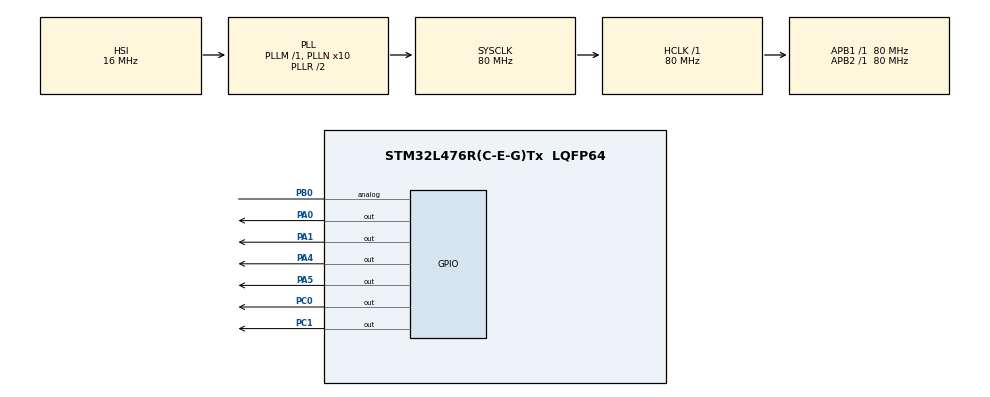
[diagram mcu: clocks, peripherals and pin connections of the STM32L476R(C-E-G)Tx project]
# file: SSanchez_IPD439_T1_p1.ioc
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Dma.MEMTOMEM.0.Direction=DMA_MEMORY_TO_MEMORY
Dma.MEMTOMEM.0.Instance=DMA1_Channel1
Dma.MEMTOMEM.0.MemDataAlignment=DMA_MDATAALIGN_BYTE
Dma.MEMTOMEM.0.MemInc=DMA_MINC_ENABLE
Dma.MEMTOMEM.0.Mode=DMA_NORMAL
Dma.MEMTOMEM.0.PeriphDataAlignment=DMA_PDATAALIGN_BYTE
Dma.MEMTOMEM.0.PeriphInc=DMA_PINC_ENABLE
Dma.MEMTOMEM.0.Priority=DMA_PRIORITY_LOW
Dma.Request0=MEMTOMEM
Mcu.Family=STM32L4
Mcu.Name=STM32L476R(C-E-G)Tx
Mcu.Package=LQFP64
NVIC.PriorityGroup=NVIC_PRIORITYGROUP_4
PA0.Signal=GPIO_Output
PA1.Signal=GPIO_Output
PA4.Signal=GPIO_Output
PA5.Signal=GPIO_Output
PB0.Signal=GPIO_Analog
PC0.Signal=GPIO_Output
PC1.Signal=GPIO_Output
ProjectManager.HeapSize=0x200
ProjectManager.StackSize=0x400
ProjectManager.TargetToolchain=STM32CubeIDE
RCC.ADCFreq_Value=64000000
RCC.AHBFreq_Value=80000000
RCC.APB1Freq_Value=80000000
RCC.APB1TimFreq_Value=80000000
RCC.APB2Freq_Value=80000000
RCC.APB2TimFreq_Value=80000000
RCC.CortexFreq_Value=80000000
RCC.HCLKFreq_Value=80000000
RCC.HSE_VALUE=8000000
RCC.HSI_VALUE=16000000
RCC.LSE_VALUE=32768
RCC.MSI_VALUE=4000000
RCC.PLLN=10
RCC.PLLSourceVirtual=RCC_PLLSOURCE_HSI
RCC.SYSCLKFreq_VALUE=80000000
RCC.SYSCLKSource=RCC_SYSCLKSOURCE_PLLCLK
RCC.USBFreq_Value=64000000
RCC.VCOOutputFreq_Value=160000000
board=custom

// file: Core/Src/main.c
/* USER CODE BEGIN Header */
/**
  ******************************************************************************
  * @file           : main.c
  * @brief          : Main program body
  ******************************************************************************
  * @attention
  *
  * Copyright (c) 2026 STMicroelectronics.
  * All rights reserved.
  *
  * This software is licensed under terms that can be found in the LICENSE file
  * in the root directory of this software component.
  * If no LICENSE file comes with this software, it is provided AS-IS.
  *
  ******************************************************************************
  */
/* USER CODE END Header */
#include "main.h"
#include "dma.h"
#include "gpio.h"

/* USER CODE BEGIN Includes */
#include "funciones.h"
#include <string.h>
/* USER CODE END Includes */

/* USER CODE BEGIN PV */
const char data1[32]="este es un texto que contiene 3";
const char data2[64]="este es un texto que contiene 32este es un texto que contiene 3";
const char data4[128]="este es un texto que contiene 32este es un texto que contiene 32este es un texto que contiene 32este es un texto que contiene 3";
const char data8[256]="este es un texto que contiene 32este es un texto que contiene 32este es un texto que contiene 32este es un texto que contiene 32este es un texto que contiene 32este es un texto que contiene 32este es un texto que contiene 32este es un texto que contiene 3";
const char data16[512]="este es un texto que contiene 32este es un texto que contiene 32este es un texto que contiene 32este es un texto que contiene 32este es un texto que contiene 32este es un texto que contiene 32este es un texto que contiene 32este es un texto que contiene 32este es un texto que contiene 32este es un texto que contiene 32este es un texto que contiene 32este es un texto que contiene 32este es un texto que contiene 32este es un texto que contiene 32este es un texto que contiene 32este es un texto que contiene 3";
const char data32[1024]="este es un texto que contiene 32este es un texto que contiene 32este es un texto que contiene 32este es un texto que contiene 32este es un texto que contiene 32este es un texto que contiene 32este es un texto que contiene 32este es un texto que contiene 32este es un texto que contiene 32este es un texto que contiene 32este es un texto que contiene 32este es un texto que contiene 32este es un texto que contiene 32este es un texto que contiene 32este es un texto que contiene 32este es un texto que contiene 32este es un texto que contiene 32este es un texto que contiene 32este es un texto que contiene 32este es un texto que contiene 32este es un texto que contiene 32este es un texto que contiene 32este es un texto que contiene 32este es un texto que contiene 32este es un texto que contiene 32este es un texto que contiene 32este es un texto que contiene 32este es un texto que contiene 32este es un texto que contiene 32este es un texto que contiene 32este es un texto que contiene 32este es un texto que contiene 3";
/* USER CODE END PV */

void SystemClock_Config(void);

int main(void)
{
  /* USER CODE BEGIN 1 */

char modes[2][4]={"dma","cpy"};
char orig[2][4]={"ram","fla"};
// ACA HAGO SET UP DE LA MEDICION QUE QUIERO REALIZAR
char mode[4]="cpy";
char origen[4]="fla";

  /* USER CODE END 1 */

  /* MCU Configuration--------------------------------------------------------*/

  /* Reset of all peripherals, Initializes the Flash interface and the Systick. */
  HAL_Init();

  /* Configure the system clock */
  SystemClock_Config();

  /* Initialize all configured peripherals */
  MX_GPIO_Init();
  MX_DMA_Init();
  /* USER CODE BEGIN 2 */
  HAL_GPIO_WritePin(GPIOA, GPIO_PIN_0, GPIO_PIN_SET);
  HAL_GPIO_WritePin(GPIOA, GPIO_PIN_1, GPIO_PIN_SET);
  HAL_GPIO_WritePin(GPIOA, GPIO_PIN_4, GPIO_PIN_SET);
  HAL_GPIO_WritePin(GPIOB, GPIO_PIN_0, GPIO_PIN_SET);
  HAL_GPIO_WritePin(GPIOC, GPIO_PIN_1, GPIO_PIN_SET);
  HAL_GPIO_WritePin(GPIOC, GPIO_PIN_0, GPIO_PIN_SET);

  HAL_GPIO_WritePin(GPIOA, GPIO_PIN_5, GPIO_PIN_RESET);
  /* MEMORY
{
  RAM    (xrw)    : ORIGIN = 0x20000000,   LENGTH = 96K
  RAM2    (xrw)    : ORIGIN = 0x10000000,   LENGTH = 32K
  FLASH    (rx)    : ORIGIN = 0x8000000,   LENGTH = 1024K
}
revisar si const guarda en 0x8 en adelante
revisar si variables normales guardan en en 0x2 o 0x1
*/

   char data_1[32]="este es un texto que contiene 3";
   char data_2[64]="este es un texto que contiene 32este es un texto que contiene 3";
   char data_4[128]="este es un texto que contiene 32este es un texto que contiene 32este es un texto que contiene 32este es un texto que contiene 3";
   char data_8[256]="este es un texto que contiene 32este es un texto que contiene 32este es un texto que contiene 32este es un texto que contiene 32este es un texto que contiene 32este es un texto que contiene 32este es un texto que contiene 32este es un texto que contiene 3";
   char data_16[512]="este es un texto que contiene 32este es un texto que contiene 32este es un texto que contiene 32este es un texto que contiene 32este es un texto que contiene 32este es un texto que contiene 32este es un texto que contiene 32este es un texto que contiene 32este es un texto que contiene 32este es un texto que contiene 32este es un texto que contiene 32este es un texto que contiene 32este es un texto que contiene 32este es un texto que contiene 32este es un texto que contiene 32este es un texto que contiene 3";
   char data_32[1024]="este es un texto que contiene 32este es un texto que contiene 32este es un texto que contiene 32este es un texto que contiene 32este es un texto que contiene 32este es un texto que contiene 32este es un texto que contiene 32este es un texto que contiene 32este es un texto que contiene 32este es un texto que contiene 32este es un texto que contiene 32este es un texto que contiene 32este es un texto que contiene 32este es un texto que contiene 32este es un texto que contiene 32este es un texto que contiene 32este es un texto que contiene 32este es un texto que contiene 32este es un texto que contiene 32este es un texto que contiene 32este es un texto que contiene 32este es un texto que contiene 32este es un texto que contiene 32este es un texto que contiene 32este es un texto que contiene 32este es un texto que contiene 32este es un texto que contiene 32este es un texto que contiene 32este es un texto que contiene 32este es un texto que contiene 32este es un texto que contiene 32este es un texto que contiene 3";

   char data_1_dst[32];
   char data_2_dst[64];
   char data_4_dst[128];
   char data_8_dst[256];
   char data_16_dst[512];
   char data_32_dst[1024];

   uint32_t dir_1;
   uint32_t dir_2;
   uint32_t dir_4;
   uint32_t dir_8;
   uint32_t dir_16;
   uint32_t dir_32;
   if(strcmp(orig[0],origen)==0){
	   dir_1 = (uint32_t) data_1;
	   dir_2 = (uint32_t) data_2;
	   dir_4 = (uint32_t) data_4;
	   dir_8 = (uint32_t) data_8;
	   dir_16= (uint32_t) data_16;
	   dir_32= (uint32_t) data_32;
   }
   else{
	   dir_1 = (uint32_t) data1;
	   dir_2 = (uint32_t) data2;
	   dir_4 = (uint32_t) data4;
	   dir_8 = (uint32_t) data8;
	   dir_16= (uint32_t) data16;
	   dir_32= (uint32_t) data32;
   }

// DMA_HandleTypeDef hdma_memtomem_dma1_channel1;
	/*
	HAL_GPIO_WritePin(GPIOA, GPIO_PIN_15, GPIO_PIN_RESET);
	    HAL_DMA_Start(&hdma_memtomem_dma1_channel1, data_1, data_1_dst, 32);

	    while(HAL_DMA_PollForTransfer(&hdma_memtomem_dma1_channel1, HAL_DMA_FULL_TRANSFER, 100) != HAL_OK)
	    {
	        __NOP();
	    }

	    HAL_GPIO_WritePin(GPIOA, GPIO_PIN_15, GPIO_PIN_SET);*/

  /* USER CODE END 2 */

  /* Infinite loop */
  while (1)
  {

    /* USER CODE BEGIN 3 */
	  if(strcmp(modes[0],mode)==0){
		  Transferir_dma_data(&hdma_memtomem_dma1_channel1, dir_1 , (uint32_t) data_1_dst ,32,GPIOA,GPIO_PIN_0);
		  if(strcmp((char *)dir_1,data_1_dst)!=0){HAL_GPIO_WritePin(GPIOA, GPIO_PIN_5, GPIO_PIN_SET);while(1);};
		  Transferir_dma_data(&hdma_memtomem_dma1_channel1, dir_2 , (uint32_t) data_2_dst ,64,GPIOA,GPIO_PIN_1);
		  if(strcmp((char *)dir_1,data_1_dst)!=0){HAL_GPIO_WritePin(GPIOA, GPIO_PIN_5, GPIO_PIN_SET);while(1);};
		  Transferir_dma_data(&hdma_memtomem_dma1_channel1, dir_4 , (uint32_t) data_4_dst ,128,GPIOA,GPIO_PIN_4);
		  if(strcmp((char *)dir_1,data_1_dst)!=0){HAL_GPIO_WritePin(GPIOA, GPIO_PIN_5, GPIO_PIN_SET);while(1);};
		  Transferir_dma_data(&hdma_memtomem_dma1_channel1, dir_8 , (uint32_t) data_8_dst ,256,GPIOB,GPIO_PIN_0);
		  if(strcmp((char *)dir_1,data_1_dst)!=0){HAL_GPIO_WritePin(GPIOA, GPIO_PIN_5, GPIO_PIN_SET);while(1);};
		  Transferir_dma_data(&hdma_memtomem_dma1_channel1, dir_16 , (uint32_t) data_16_dst ,512,GPIOC,GPIO_PIN_1);
		  if(strcmp((char *)dir_1,data_1_dst)!=0){HAL_GPIO_WritePin(GPIOA, GPIO_PIN_5, GPIO_PIN_SET);while(1);};
		  Transferir_dma_data(&hdma_memtomem_dma1_channel1, dir_32 , (uint32_t) data_32_dst ,1024,GPIOC,GPIO_PIN_0);
		  if(strcmp((char *)dir_1,data_1_dst)!=0){HAL_GPIO_WritePin(GPIOA, GPIO_PIN_5, GPIO_PIN_SET);while(1);};
		  //sorry profe por lo feo de la linea de verificación de error, pero preferí código horizontal antes
		  //que seguir haciendo lineas hacia abajo ajjajaj
	  }
	  else{
		  Transferir_cpy_data(dir_1 , (uint32_t) data_1_dst ,32,GPIOA,GPIO_PIN_0);
		  if(strcmp((char *)dir_1,data_1_dst)!=0){HAL_GPIO_WritePin(GPIOA, GPIO_PIN_5, GPIO_PIN_SET);while(1);};
  		  Transferir_cpy_data(dir_2 , (uint32_t) data_2_dst ,64,GPIOA,GPIO_PIN_1);
		  if(strcmp((char *)dir_1,data_1_dst)!=0){HAL_GPIO_WritePin(GPIOA, GPIO_PIN_5, GPIO_PIN_SET);while(1);};
  		  Transferir_cpy_data(dir_4 , (uint32_t) data_4_dst ,128,GPIOA,GPIO_PIN_4);
		  if(strcmp((char *)dir_1,data_1_dst)!=0){HAL_GPIO_WritePin(GPIOA, GPIO_PIN_5, GPIO_PIN_SET);while(1);};
  		  Transferir_cpy_data(dir_8 , (uint32_t) data_8_dst ,256,GPIOB,GPIO_PIN_0);
		  if(strcmp((char *)dir_1,data_1_dst)!=0){HAL_GPIO_WritePin(GPIOA, GPIO_PIN_5, GPIO_PIN_SET);while(1);};
  		  Transferir_cpy_data(dir_16 , (uint32_t) data_16_dst ,512,GPIOC,GPIO_PIN_1);
		  if(strcmp((char *)dir_1,data_1_dst)!=0){HAL_GPIO_WritePin(GPIOA, GPIO_PIN_5, GPIO_PIN_SET);while(1);};
  		  Transferir_cpy_data(dir_32 , (uint32_t) data_32_dst ,1024,GPIOC,GPIO_PIN_0);
		  if(strcmp((char *)dir_1,data_1_dst)!=0){HAL_GPIO_WritePin(GPIOA, GPIO_PIN_5, GPIO_PIN_SET);while(1);};
	  }

  }
  /* USER CODE END 3 */
}
void SystemClock_Config(void)
{
  RCC_OscInitTypeDef RCC_OscInitStruct = {0};
  RCC_ClkInitTypeDef RCC_ClkInitStruct = {0};

  /** Configure the main internal regulator output voltage
  */
  if (HAL_PWREx_ControlVoltageScaling(PWR_REGULATOR_VOLTAGE_SCALE1) != HAL_OK)
  {
    Error_Handler();
  }

  /** Initializes the RCC Oscillators according to the specified parameters
  * in the RCC_OscInitTypeDef structure.
  */
  RCC_OscInitStruct.OscillatorType = RCC_OSCILLATORTYPE_HSI;
  RCC_OscInitStruct.HSIState = RCC_HSI_ON;
  RCC_OscInitStruct.HSICalibrationValue = RCC_HSICALIBRATION_DEFAULT;
  RCC_OscInitStruct.PLL.PLLState = RCC_PLL_ON;
  RCC_OscInitStruct.PLL.PLLSource = RCC_PLLSOURCE_HSI;
  RCC_OscInitStruct.PLL.PLLM = 1;
  RCC_OscInitStruct.PLL.PLLN = 10;
  RCC_OscInitStruct.PLL.PLLP = RCC_PLLP_DIV7;
  RCC_OscInitStruct.PLL.PLLQ = RCC_PLLQ_DIV2;
  RCC_OscInitStruct.PLL.PLLR = RCC_PLLR_DIV2;
  if (HAL_RCC_OscConfig(&RCC_OscInitStruct) != HAL_OK)
  {
    Error_Handler();
  }

  /** Initializes the CPU, AHB and APB buses clocks
  */
  RCC_ClkInitStruct.ClockType = RCC_CLOCKTYPE_HCLK|RCC_CLOCKTYPE_SYSCLK
                              |RCC_CLOCKTYPE_PCLK1|RCC_CLOCKTYPE_PCLK2;
  RCC_ClkInitStruct.SYSCLKSource = RCC_SYSCLKSOURCE_PLLCLK;
  RCC_ClkInitStruct.AHBCLKDivider = RCC_SYSCLK_DIV1;
  RCC_ClkInitStruct.APB1CLKDivider = RCC_HCLK_DIV1;
  RCC_ClkInitStruct.APB2CLKDivider = RCC_HCLK_DIV1;

  if (HAL_RCC_ClockConfig(&RCC_ClkInitStruct, FLASH_LATENCY_4) != HAL_OK)
  {
    Error_Handler();
  }
}

void Error_Handler(void)
{
  __disable_irq();
  while (1)
  {
  }
}
